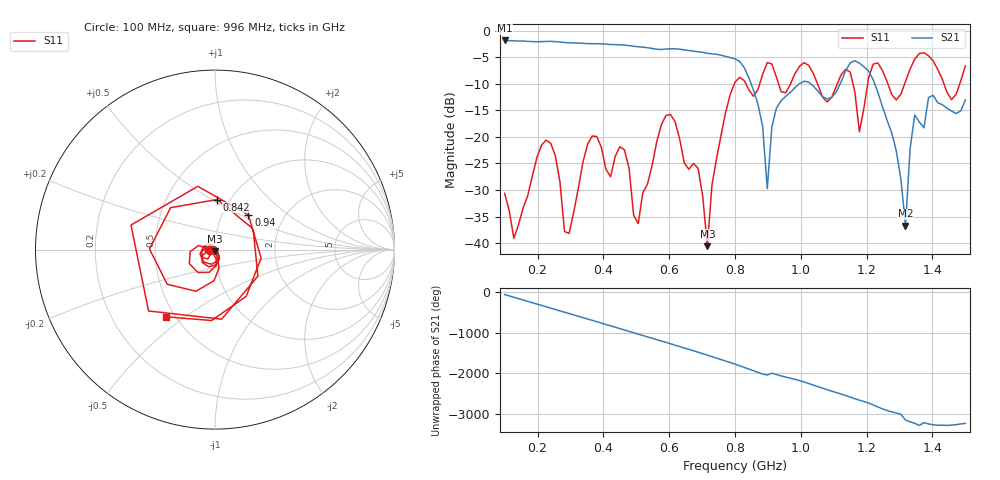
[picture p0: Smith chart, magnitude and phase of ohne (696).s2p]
! NanoVNA-App
! Date: 2025-09-25 14:26:13
! Start: 100MHz Stop: 1,5GHz Points: 101
! S-Parameter data: F S11 S21 S12 S22
# Hz S RI R 50
!  Frequency  S11_Real  S11_Imag  S21_Real  S21_Imag  S12_Real  S12_Imag  S22_Real  S22_Imag
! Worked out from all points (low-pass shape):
!   101 points, 100 MHz to 1.5 GHz, reference 50 ohm
!   highest |S21| = -1.79 dB at 100 MHz (marker M1); lowest = -36.7 dB at 1.318 GHz (marker M2)
!   |S21| within 3 dB of the highest: start of sweep to 771.2 MHz
!   lowest |S11| = -40.6 dB at 716 MHz (marker M3), VSWR 1.02, Z = 49.7 - j0.894 ohm
!   |S11| at or under -10 dB: start of sweep to 797.9 MHz; 833.2 MHz to 875 MHz (41.85 MHz wide, 4.9 % of centre); 1.051 GHz to 1.111 GHz (59.82 MHz wide, 5.53 % of centre) (the widest 3 of 7)
!   S12 and S22 are empty: the file has one direction only
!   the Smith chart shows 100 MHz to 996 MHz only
!   S11 on the Smith chart (normalised r, x): 100 MHz: 0.94, -0.01; 842 MHz: 0.88, +0.53; 940 MHz: 1.33, +0.55; 996 MHz: 0.44, -0.42
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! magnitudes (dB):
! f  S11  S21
! 100 MHz  -30.6  -1.8
! 128 MHz  -39.1  -1.9
! 226 MHz  -20.6  -2.0
! 296 MHz  -38.2  -2.2
! 338 MHz  -24.8  -2.3
! 464 MHz  -22.4  -2.7
! 506 MHz  -36.3  -3.0
! 576 MHz  -17.7  -3.5
! 688 MHz  -25.9  -3.9
! 716 MHz  -40.6  -4.2
! 800 MHz  -9.7  -5.2
! 842 MHz  -11.1  -8.8
! 898 MHz  -6.0  -29.7
! 940 MHz  -11.4  -13.2
! 996 MHz  -6.7  -10.0
! 1.038 GHz  -8.0  -10.4
! 1.178 GHz  -19.0  -6.1
! 1.22 GHz  -6.3  -9.2
! 1.276 GHz  -12.0  -19.2
! 1.318 GHz  -9.5  -36.7
! 1.346 GHz  -5.3  -15.9
! 1.5 GHz  -6.6  -13.0
